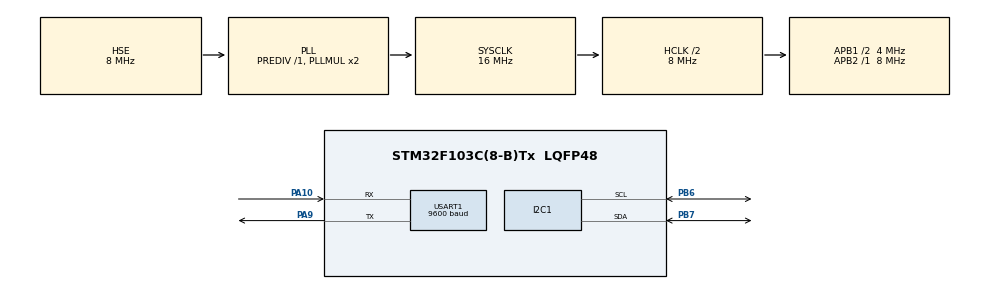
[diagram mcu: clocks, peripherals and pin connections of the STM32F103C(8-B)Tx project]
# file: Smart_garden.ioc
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Mcu.Family=STM32F1
Mcu.Name=STM32F103C(8-B)Tx
Mcu.Package=LQFP48
NVIC.PriorityGroup=NVIC_PRIORITYGROUP_4
PA10.Mode=Asynchronous
PA10.Signal=USART1_RX
PA13.Mode=Serial_Wire
PA13.Signal=SYS_JTMS-SWDIO
PA14.Mode=Serial_Wire
PA14.Signal=SYS_JTCK-SWCLK
PA9.Mode=Asynchronous
PA9.Signal=USART1_TX
PB6.Mode=I2C
PB6.Signal=I2C1_SCL
PB7.Mode=I2C
PB7.Signal=I2C1_SDA
PD0-OSC_IN.Mode=HSE-External-Oscillator
PD0-OSC_IN.Signal=RCC_OSC_IN
PD1-OSC_OUT.Mode=HSE-External-Oscillator
PD1-OSC_OUT.Signal=RCC_OSC_OUT
ProjectManager.HeapSize=0x200
ProjectManager.StackSize=0x400
ProjectManager.TargetToolchain=MDK-ARM V5.32
RCC.AHBCLKDivider=RCC_SYSCLK_DIV2
RCC.AHBFreq_Value=8000000
RCC.APB1CLKDivider=RCC_HCLK_DIV2
RCC.APB1Freq_Value=4000000
RCC.APB1TimFreq_Value=8000000
RCC.APB2Freq_Value=8000000
RCC.APB2TimFreq_Value=8000000
RCC.HCLKFreq_Value=8000000
RCC.PLLSourceVirtual=RCC_PLLSOURCE_HSE
RCC.SYSCLKFreq_VALUE=16000000
RCC.SYSCLKSource=RCC_SYSCLKSOURCE_PLLCLK
RCC.USBFreq_Value=16000000
USART1.BaudRate=9600
USART1.VirtualMode=VM_ASYNC
board=custom

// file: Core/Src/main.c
/* USER CODE BEGIN Header */
/**
  ******************************************************************************
  * @file           : main.c
  * @brief          : Main program body
  ******************************************************************************
  * @attention
  *
  * Copyright (c) 2024 STMicroelectronics.
  * All rights reserved.
  *
  * This software is licensed under terms that can be found in the LICENSE file
  * in the root directory of this software component.
  * If no LICENSE file comes with this software, it is provided AS-IS.
  *
  ******************************************************************************
  */
/* USER CODE END Header */
#include "main.h"

/* USER CODE BEGIN Includes */
#include "stdio.h"
#include "i2c-lcd.h"
#include "i2c-sht30.h"
#include "string.h"
/* USER CODE END Includes */

I2C_HandleTypeDef hi2c1;

UART_HandleTypeDef huart1;

/* USER CODE BEGIN PV */
char tempunit[] = {
  0x1A,
  0x1D,
  0x04,
  0x04,
  0x04,
  0x04,
  0x05,
  0x02
};

/* USER CODE END PV */

void SystemClock_Config(void);
static void MX_GPIO_Init(void);
static void MX_I2C1_Init(void);
static void MX_USART1_UART_Init(void);

int main(void)
{

  /* MCU Configuration--------------------------------------------------------*/

  /* Reset of all peripherals, Initializes the Flash interface and the Systick. */
  HAL_Init();

  /* Configure the system clock */
  SystemClock_Config();

  /* Initialize all configured peripherals */
  MX_GPIO_Init();
  MX_I2C1_Init();
  MX_USART1_UART_Init();
  /* USER CODE BEGIN 2 */
	lcd_init();
	SHT30_Data sht30_data;
  char buffer[50];
	lcd_send_cmd(0x40);
	for (int i=0; i<8; i++) lcd_send_data(tempunit[i]);
	lcd_goto_XY(1,0);
	lcd_send_string("Temp:");
	// Show temperature unit
	lcd_goto_XY(1,15);
	lcd_send_data(0);
	// Start at second row
	lcd_goto_XY(2,0);
	lcd_send_string("Humidity:");
	lcd_goto_XY(2,15);
	lcd_send_string("%");
	uint8_t data= 0x50;
  /* USER CODE END 2 */

  /* Infinite loop */
  /* USER CODE BEGIN WHILE */
  while (1)
  {
		    if (SHT30_ReadData(&sht30_data) == HAL_OK) {
						lcd_goto_XY(1,10);
					// Send temperature to LCD
						sprintf(buffer, "%.2f", sht30_data.temperature);
            lcd_send_string(buffer);

						lcd_goto_XY(2,10);
					// Send humidity to LCD
						sprintf(buffer, "%.2f", sht30_data.humidity);
            lcd_send_string(buffer);
					// Send data to ESP8266
						sprintf(buffer, "{\"temperature\": %.2f, \"humidity\": %.2f}\n", sht30_data.temperature, sht30_data.humidity);
						HAL_UART_Transmit(&huart1, (uint8_t*)buffer, strlen(buffer), HAL_MAX_DELAY);
        } else {
            lcd_clear_display();
            lcd_send_string("Error reading");
        }
        HAL_Delay(1000);

    /* USER CODE END WHILE */

  }
}

void SystemClock_Config(void)
{
  RCC_OscInitTypeDef RCC_OscInitStruct = {0};
  RCC_ClkInitTypeDef RCC_ClkInitStruct = {0};

  /** Initializes the RCC Oscillators according to the specified parameters
  * in the RCC_OscInitTypeDef structure.
  */
  RCC_OscInitStruct.OscillatorType = RCC_OSCILLATORTYPE_HSE;
  RCC_OscInitStruct.HSEState = RCC_HSE_ON;
  RCC_OscInitStruct.HSEPredivValue = RCC_HSE_PREDIV_DIV1;
  RCC_OscInitStruct.HSIState = RCC_HSI_ON;
  RCC_OscInitStruct.PLL.PLLState = RCC_PLL_ON;
  RCC_OscInitStruct.PLL.PLLSource = RCC_PLLSOURCE_HSE;
  RCC_OscInitStruct.PLL.PLLMUL = RCC_PLL_MUL2;
  if (HAL_RCC_OscConfig(&RCC_OscInitStruct) != HAL_OK)
  {
    Error_Handler();
  }

  /** Initializes the CPU, AHB and APB buses clocks
  */
  RCC_ClkInitStruct.ClockType = RCC_CLOCKTYPE_HCLK|RCC_CLOCKTYPE_SYSCLK
                              |RCC_CLOCKTYPE_PCLK1|RCC_CLOCKTYPE_PCLK2;
  RCC_ClkInitStruct.SYSCLKSource = RCC_SYSCLKSOURCE_PLLCLK;
  RCC_ClkInitStruct.AHBCLKDivider = RCC_SYSCLK_DIV2;
  RCC_ClkInitStruct.APB1CLKDivider = RCC_HCLK_DIV2;
  RCC_ClkInitStruct.APB2CLKDivider = RCC_HCLK_DIV1;

  if (HAL_RCC_ClockConfig(&RCC_ClkInitStruct, FLASH_LATENCY_0) != HAL_OK)
  {
    Error_Handler();
  }
}

static void MX_I2C1_Init(void)
{

  hi2c1.Instance = I2C1;
  hi2c1.Init.ClockSpeed = 100000;
  hi2c1.Init.DutyCycle = I2C_DUTYCYCLE_2;
  hi2c1.Init.OwnAddress1 = 0;
  hi2c1.Init.AddressingMode = I2C_ADDRESSINGMODE_7BIT;
  hi2c1.Init.DualAddressMode = I2C_DUALADDRESS_DISABLE;
  hi2c1.Init.OwnAddress2 = 0;
  hi2c1.Init.GeneralCallMode = I2C_GENERALCALL_DISABLE;
  hi2c1.Init.NoStretchMode = I2C_NOSTRETCH_DISABLE;
  if (HAL_I2C_Init(&hi2c1) != HAL_OK)
  {
    Error_Handler();
  }

}

static void MX_USART1_UART_Init(void)
{

  huart1.Instance = USART1;
  huart1.Init.BaudRate = 9600;
  huart1.Init.WordLength = UART_WORDLENGTH_8B;
  huart1.Init.StopBits = UART_STOPBITS_1;
  huart1.Init.Parity = UART_PARITY_NONE;
  huart1.Init.Mode = UART_MODE_TX_RX;
  huart1.Init.HwFlowCtl = UART_HWCONTROL_NONE;
  huart1.Init.OverSampling = UART_OVERSAMPLING_16;
  if (HAL_UART_Init(&huart1) != HAL_OK)
  {
    Error_Handler();
  }

}

static void MX_GPIO_Init(void)
{

  /* GPIO Ports Clock Enable */
  __HAL_RCC_GPIOD_CLK_ENABLE();
  __HAL_RCC_GPIOA_CLK_ENABLE();
  __HAL_RCC_GPIOB_CLK_ENABLE();

}

void Error_Handler(void)
{
  __disable_irq();
  while (1)
  {
  }
}
